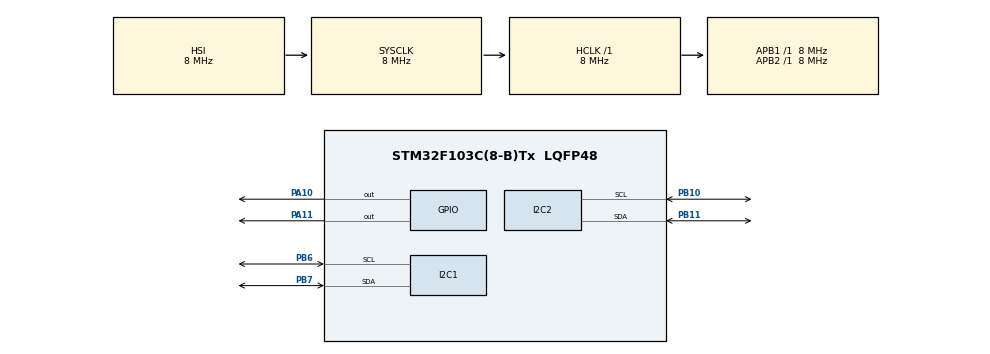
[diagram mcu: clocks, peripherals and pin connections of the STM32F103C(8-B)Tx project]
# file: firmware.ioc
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I2C2.I2C_Mode=I2C_Standard
Mcu.Family=STM32F1
Mcu.Name=STM32F103C(8-B)Tx
Mcu.Package=LQFP48
NVIC.PriorityGroup=NVIC_PRIORITYGROUP_4
PA10.Signal=GPIO_Output
PA11.Signal=GPIO_Output
PA13.Mode=Serial_Wire
PA13.Signal=SYS_JTMS-SWDIO
PA14.Mode=Serial_Wire
PA14.Signal=SYS_JTCK-SWCLK
PB10.Mode=I2C
PB10.Signal=I2C2_SCL
PB11.Mode=I2C
PB11.Signal=I2C2_SDA
PB6.Mode=I2C
PB6.Signal=I2C1_SCL
PB7.Mode=I2C
PB7.Signal=I2C1_SDA
ProjectManager.HeapSize=0x200
ProjectManager.StackSize=0x400
ProjectManager.TargetToolchain=Makefile
RCC.AHBFreq_Value=8000000
RCC.APB1Freq_Value=8000000
RCC.APB1TimFreq_Value=8000000
RCC.APB2Freq_Value=8000000
RCC.APB2TimFreq_Value=8000000
RCC.HCLKFreq_Value=8000000
RCC.PWREXT_OverDrive=PWREXT_OverDrive_ACTIVATED
RCC.PWR_Regulator_Voltage_Scale=PWR_REGULATOR_VOLTAGE_SCALE3
RCC.RCC_TIM_PRescaler_Selection=RCC_TIMPRES_DESACTIVATED
RCC.SYSCLKFreq_VALUE=8000000
RCC.USBFreq_Value=8000000
board=custom

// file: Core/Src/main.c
/* USER CODE BEGIN Header */
/**
  ******************************************************************************
  * @file           : main.c
  * @brief          : Main program body
  ******************************************************************************
  * @attention
  *
  * Copyright (c) 2024 STMicroelectronics.
  * All rights reserved.
  *
  * This software is licensed under terms that can be found in the LICENSE file
  * in the root directory of this software component.
  * If no LICENSE file comes with this software, it is provided AS-IS.
  *
  ******************************************************************************
  */
/* USER CODE END Header */
#include "main.h"

/* USER CODE BEGIN Includes */
#include <string.h>
/* USER CODE END Includes */

I2C_HandleTypeDef hi2c1;
I2C_HandleTypeDef hi2c2;

/* USER CODE BEGIN PV */
extern const char tps25750x_lowRegion_i2c_array[];
extern int gSizeLowRegionArray;
/* USER CODE END PV */

void SystemClock_Config(void);
static void MX_GPIO_Init(void);
static void MX_I2C1_Init(void);
static void MX_I2C2_Init(void);
/* USER CODE BEGIN PFP */
static int usbPdStateMachine(int* err);

/* USER CODE END PFP */

/* USER CODE BEGIN 0 */
volatile uint8_t buf[256] = {0};
volatile union {
  uint8_t raw[6];
  struct __packed {
    unsigned len : 8;
    unsigned PatchHeaderErr : 1;
    unsigned rsv0 : 1;
    unsigned DeadBatteryFlag : 1;
    unsigned I2cEepromPresent : 1;
    unsigned rsv1 : 6;
    unsigned patchdownloaderr : 1;
    unsigned rsv2 : 8;
    unsigned MasterTSD : 1;
    unsigned rsv3 : 9;
    unsigned PatchConfigSource : 3;
    unsigned rev_id : 8;
  };
} boot_status;
/* USER CODE END 0 */

int main(void)
{

  /* MCU Configuration--------------------------------------------------------*/

  /* Reset of all peripherals, Initializes the Flash interface and the Systick. */
  HAL_Init();

  /* Configure the system clock */
  SystemClock_Config();

  /* Initialize all configured peripherals */
  MX_GPIO_Init();
  MX_I2C1_Init();
  MX_I2C2_Init();
  /* USER CODE BEGIN 2 */
  uint32_t last_toggle = HAL_GetTick();
  int error_detected = 0;
  HAL_Delay(100);
  /* USER CODE END 2 */

  /* Infinite loop */
  while (1)
  {

    /* USER CODE BEGIN 3 */
    // if (HAL_GetTick() > last_toggle + 1) {
    //   // HAL_GPIO_TogglePin(GPIOA, GPIO_PIN_10 | GPIO_PIN_11);
    //   last_toggle = HAL_GetTick();
    // }
    // Flash USB-PD Chip with firmware
    while (!usbPdStateMachine(&error_detected)) {}

    memset(buf, 0, sizeof(buf));
    if (error_detected == 0) {
      if (HAL_I2C_Mem_Read(&hi2c1, 0b01000000, 0x2D, 1, boot_status.raw, 5+1, -1) != HAL_OK) {
      }
      // HAL_GPIO_TogglePin(GPIOA, GPIO_PIN_10);
      HAL_Delay(100);
    }

  }
  /* USER CODE END 3 */
}

typedef enum {
  STATE_IDLE = 0,
  STATE_DELAY,
  STATE_READY_FOR_PATCH,
  STATE_READ_MODE,
  STATE_WRITE_DATA1,
  STATE_WRITE_PBMS,
  STATE_READ_PBMS,
  STATE_READ_DATA1,
  STATE_WRITE_FW,
  STATE_WRITE_PBMC,
  STATE_WRITE_PBME,
  STATE_READ_PBMC,
  STATE_READ_DATA1_PBMC,
  STATE_CHECK_PATCH_LOADED,
  STATE_CHECK_MODE,
  STATE_COMPLETE = 0xFE,
  STATE_ERROR
} usbPdState;

static int usbPdStateMachine(int* err) {
  static usbPdState state = STATE_IDLE;
  static usbPdState nextStateAfterDelay = STATE_IDLE;
  static uint32_t old_time = 0;
  int complete = 0;
  switch (state)
  {
  case STATE_IDLE:
    state = STATE_READY_FOR_PATCH;
    *err = 0;
    break;

  case STATE_DELAY:
    uint32_t time_now = HAL_GetTick();
    if (time_now >= old_time + 10) {
      state = nextStateAfterDelay;
    }
    *err = 0;
    break;

  case STATE_READY_FOR_PATCH:
    if (HAL_I2C_Mem_Read(&hi2c1, 0b01000000, 0x14, 1, buf, 11+1, -1) != HAL_OK) {
      state = STATE_ERROR;
      *err = 1;
      break;
    }

    if (buf[11] & 0x02) {
      state = STATE_READ_MODE;
    } else {
      state = STATE_DELAY;
      nextStateAfterDelay = STATE_READY_FOR_PATCH;
      old_time = HAL_GetTick();
    }
    break;

  case STATE_READ_MODE:
    if (HAL_I2C_Mem_Read(&hi2c1, 0b01000000, 0x03, 1, buf, 5, -1) != HAL_OK) {
      state = STATE_ERROR;
      *err = 1;
      break;
    }

    if (buf[0] == 0x04 && buf[1] == 'P' && buf[2] == 'T' && buf[3] == 'C' && buf[4] == 'H') {
      state = STATE_WRITE_DATA1;
    } else {
      state = STATE_DELAY;
      nextStateAfterDelay = STATE_READ_MODE;
      old_time = HAL_GetTick();
    }
    break;

  case STATE_WRITE_DATA1:
    memset(buf, 0, sizeof(buf));
    buf[0] = 6;
    *(uint32_t*)(&buf[1]) = gSizeLowRegionArray;
    buf[5] = 0b00001100;
    // buf[5] = 0b000000;
    buf[6] = 0x32;
    if (HAL_I2C_Mem_Write(&hi2c1, 0b01000000, 0x09, 1, buf, 6+1, -1) != HAL_OK) {
      state = STATE_ERROR;
      *err = 1;
      break;
    }

    state = STATE_WRITE_PBMS;
    *err = 0;
    break;

  case STATE_WRITE_PBMS:
    memset(buf, 0, sizeof(buf));
    buf[0] = 4;
    buf[1] = 'P';
    buf[2] = 'B';
    buf[3] = 'M';
    buf[4] = 's';
    if (HAL_I2C_Mem_Write(&hi2c1, 0b01000000, 0x08, 1, buf, 4+1, -1) != HAL_OK) {
      state = STATE_ERROR;
      *err = 1;
      break;
    }
    state = STATE_READ_PBMS;
    *err = 0;

    break;

  case STATE_READ_PBMS:
    memset(buf, 0, sizeof(buf));
    if (HAL_I2C_Mem_Read(&hi2c1, 0b01000000, 0x08, 1, buf, 4+1, -1) != HAL_OK) {
      state = STATE_ERROR;
      *err = 1;
      break;
    }

    if (buf[0] == 0x04 && buf[1] == 0x0 && buf[2] == 0x0 && buf[3] == 0x0 && buf[4] == 0x0) {
      state = STATE_READ_DATA1;
    } else {
      state = STATE_DELAY;
      nextStateAfterDelay = STATE_READ_PBMS;
      old_time = HAL_GetTick();
    }
    break;

  case STATE_READ_DATA1:
    memset(buf, 0, sizeof(buf));
    if (HAL_I2C_Mem_Read(&hi2c1, 0b01000000, 0x09, 1, buf, 64+1, -1) != HAL_OK) {
      state = STATE_ERROR;
      *err = 1;
      break;
    }

    if (buf[0] == 0x40 && buf[1] == 0x0) {
      state = STATE_WRITE_FW;
    } else {
      state = STATE_IDLE;
    }
    break;

  case STATE_WRITE_FW:
    int ret;
    HAL_Delay(10);
    if (ret = HAL_I2C_Master_Transmit(&hi2c1, 0b00011000, tps25750x_lowRegion_i2c_array, gSizeLowRegionArray, -1)) {
      state = STATE_WRITE_PBME;
      *err = 1;
      break;
    }
    state = STATE_WRITE_PBMC;
    *err = 0;

    break;

  case STATE_WRITE_PBME:
    memset(buf, 0, sizeof(buf));
    HAL_Delay(1);
    buf[0] = 4;
    buf[1] = 'P';
    buf[2] = 'B';
    buf[3] = 'M';
    buf[4] = 'e';
    if (HAL_I2C_Mem_Write(&hi2c1, 0b01000000, 0x08, 1, buf, 4+1, -1) != HAL_OK) {
      state = STATE_ERROR;
      *err = 1;
      break;
    }
    state = STATE_ERROR;
    *err = 1;

    break;

  case STATE_WRITE_PBMC:
    memset(buf, 0, sizeof(buf));
    HAL_Delay(1);
    buf[0] = 4;
    buf[1] = 'P';
    buf[2] = 'B';
    buf[3] = 'M';
    buf[4] = 'c';
    if (HAL_I2C_Mem_Write(&hi2c1, 0b01000000, 0x08, 1, buf, 4+1, -1) != HAL_OK) {
      state = STATE_ERROR;
      *err = 1;
      break;
    }
    state = STATE_READ_PBMC;
    *err = 0;

    break;

  case STATE_READ_PBMC:
    memset(buf, 0, sizeof(buf));
    if (HAL_I2C_Mem_Read(&hi2c1, 0b01000000, 0x08, 1, buf, 4+1, -1) != HAL_OK) {
      state = STATE_ERROR;
      *err = 1;
      break;
    }

    if (buf[0] == 0x04 && buf[1] == 0x0 && buf[2] == 0x0 && buf[3] == 0x0 && buf[4] == 0x0) {
      state = STATE_READ_DATA1_PBMC;
    } else {
      state = STATE_DELAY;
      nextStateAfterDelay = STATE_READ_PBMC;
      old_time = HAL_GetTick();
    }
    break;

  case STATE_READ_DATA1_PBMC:
    memset(buf, 0, sizeof(buf));
    if (HAL_I2C_Mem_Read(&hi2c1, 0b01000000, 0x09, 1, buf, 64+1, -1) != HAL_OK) {
      state = STATE_ERROR;
      *err = 1;
      break;
    }

    if (buf[0] == 64 && buf[1] == 0x0 && buf[2] == 0x0 && buf[3] == 0x0 && buf[4] == 0x0) {
      state = STATE_CHECK_PATCH_LOADED;
    } else {
      state = STATE_ERROR;
    }
    break;

  case STATE_CHECK_PATCH_LOADED:
    memset(buf, 0, sizeof(buf));
    if (HAL_I2C_Mem_Read(&hi2c1, 0b01000000, 0x14, 1, buf, 11+1, -1) != HAL_OK) {
      state = STATE_ERROR;
      *err = 1;
      break;
    }

    if (buf[11] & 0x01) {
      state = STATE_CHECK_MODE;
    } else {
      state = STATE_DELAY;
      nextStateAfterDelay = STATE_CHECK_PATCH_LOADED;
      old_time = HAL_GetTick();
    }
    break;

  case STATE_CHECK_MODE:
    if (HAL_I2C_Mem_Read(&hi2c1, 0b01000000, 0x03, 1, buf, 5, -1) != HAL_OK) {
      state = STATE_ERROR;
      *err = 1;
      break;
    }

    if (buf[0] == 0x04 && buf[1] == 'A' && buf[2] == 'P' && buf[3] == 'P' && buf[4] == ' ') {
      state = STATE_COMPLETE;
    } else {
      state = STATE_DELAY;
      nextStateAfterDelay = STATE_CHECK_MODE;
      old_time = HAL_GetTick();
    }
    break;

  case STATE_COMPLETE:
    HAL_GPIO_WritePin(GPIOA, GPIO_PIN_10, GPIO_PIN_SET);
    *err = 0;
    complete = 1;
    break;

  case STATE_ERROR:
    HAL_GPIO_WritePin(GPIOA, GPIO_PIN_11, GPIO_PIN_SET);
    *err = 1;
    complete = 1;
    // HAL_I2C_Master_Transmit()

    break;

  default:
    break;
  }

  return complete;
}

void SystemClock_Config(void)
{
  RCC_OscInitTypeDef RCC_OscInitStruct = {0};
  RCC_ClkInitTypeDef RCC_ClkInitStruct = {0};

  /** Initializes the RCC Oscillators according to the specified parameters
  * in the RCC_OscInitTypeDef structure.
  */
  RCC_OscInitStruct.OscillatorType = RCC_OSCILLATORTYPE_HSI;
  RCC_OscInitStruct.HSIState = RCC_HSI_ON;
  RCC_OscInitStruct.HSICalibrationValue = RCC_HSICALIBRATION_DEFAULT;
  RCC_OscInitStruct.PLL.PLLState = RCC_PLL_NONE;
  if (HAL_RCC_OscConfig(&RCC_OscInitStruct) != HAL_OK)
  {
    Error_Handler();
  }

  /** Initializes the CPU, AHB and APB buses clocks
  */
  RCC_ClkInitStruct.ClockType = RCC_CLOCKTYPE_HCLK|RCC_CLOCKTYPE_SYSCLK
                              |RCC_CLOCKTYPE_PCLK1|RCC_CLOCKTYPE_PCLK2;
  RCC_ClkInitStruct.SYSCLKSource = RCC_SYSCLKSOURCE_HSI;
  RCC_ClkInitStruct.AHBCLKDivider = RCC_SYSCLK_DIV1;
  RCC_ClkInitStruct.APB1CLKDivider = RCC_HCLK_DIV1;
  RCC_ClkInitStruct.APB2CLKDivider = RCC_HCLK_DIV1;

  if (HAL_RCC_ClockConfig(&RCC_ClkInitStruct, FLASH_LATENCY_0) != HAL_OK)
  {
    Error_Handler();
  }
}

static void MX_I2C1_Init(void)
{

  hi2c1.Instance = I2C1;
  hi2c1.Init.ClockSpeed = 100000;
  hi2c1.Init.DutyCycle = I2C_DUTYCYCLE_2;
  hi2c1.Init.OwnAddress1 = 0;
  hi2c1.Init.AddressingMode = I2C_ADDRESSINGMODE_7BIT;
  hi2c1.Init.DualAddressMode = I2C_DUALADDRESS_DISABLE;
  hi2c1.Init.OwnAddress2 = 0;
  hi2c1.Init.GeneralCallMode = I2C_GENERALCALL_DISABLE;
  hi2c1.Init.NoStretchMode = I2C_NOSTRETCH_DISABLE;
  if (HAL_I2C_Init(&hi2c1) != HAL_OK)
  {
    Error_Handler();
  }

}

static void MX_I2C2_Init(void)
{

  hi2c2.Instance = I2C2;
  hi2c2.Init.ClockSpeed = 100000;
  hi2c2.Init.DutyCycle = I2C_DUTYCYCLE_2;
  hi2c2.Init.OwnAddress1 = 0;
  hi2c2.Init.AddressingMode = I2C_ADDRESSINGMODE_7BIT;
  hi2c2.Init.DualAddressMode = I2C_DUALADDRESS_DISABLE;
  hi2c2.Init.OwnAddress2 = 0;
  hi2c2.Init.GeneralCallMode = I2C_GENERALCALL_DISABLE;
  hi2c2.Init.NoStretchMode = I2C_NOSTRETCH_DISABLE;
  if (HAL_I2C_Init(&hi2c2) != HAL_OK)
  {
    Error_Handler();
  }

}

static void MX_GPIO_Init(void)
{
  GPIO_InitTypeDef GPIO_InitStruct = {0};

  /* GPIO Ports Clock Enable */
  __HAL_RCC_GPIOB_CLK_ENABLE();
  __HAL_RCC_GPIOA_CLK_ENABLE();

  /*Configure GPIO pin Output Level */
  HAL_GPIO_WritePin(GPIOA, GPIO_PIN_10|GPIO_PIN_11, GPIO_PIN_RESET);

  /*Configure GPIO pins : PA10 PA11 */
  GPIO_InitStruct.Pin = GPIO_PIN_10|GPIO_PIN_11;
  GPIO_InitStruct.Mode = GPIO_MODE_OUTPUT_PP;
  GPIO_InitStruct.Pull = GPIO_NOPULL;
  GPIO_InitStruct.Speed = GPIO_SPEED_FREQ_LOW;
  HAL_GPIO_Init(GPIOA, &GPIO_InitStruct);

}

void Error_Handler(void)
{
  __disable_irq();
  while (1)
  {
  }
}
